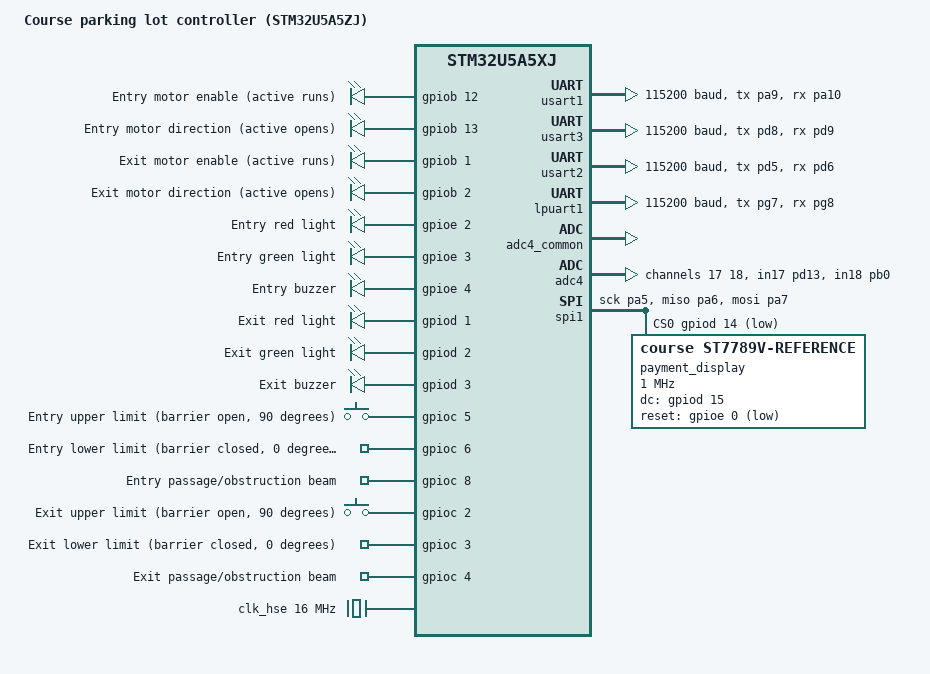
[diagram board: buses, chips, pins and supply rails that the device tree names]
/*
 * Course parking lot controller: an STM32U5A5ZJ with the clock tree of ST's
 * nucleo_u5a5zj_q, trimmed to the console and the lot's equipment. The lot
 * runs only in Renode (hardware/renode/parking.repl wires the models).
 *
 * Firmware reaches every device through an alias, never a pin number:
 *   GPIO_DT_SPEC_GET(DT_ALIAS(entry_motor_enable), gpios)
 *   ADC_CHANNEL_CFG_DT(DT_ALIAS(entry_distance))
 *   DEVICE_DT_GET(DT_ALIAS(entry_camera))
 *
 * Copyright (c) 2023-2024 STMicroelectronics (board base)
 * SPDX-License-Identifier: Apache-2.0
 */

/dts-v1/;
#include <st/u5/stm32u5a5Xj.dtsi>
#include <st/u5/stm32u5a5zjtxq-pinctrl.dtsi>
#include <zephyr/dt-bindings/adc/adc.h>

/ {
	model = "Course parking lot controller (STM32U5A5ZJ)";
	compatible = "ufal,parking-lot-u5";

	chosen {
		zephyr,console = &usart1;
		zephyr,shell-uart = &usart1;
		zephyr,sram = &sram0;
		zephyr,flash = &flash0;
	};

	aliases {
		/* Entry lane */
		entry-motor-enable = &entry_motor_enable;
		entry-motor-direction = &entry_motor_direction;
		entry-limit-upper = &entry_limit_upper;
		entry-limit-lower = &entry_limit_lower;
		entry-beam = &entry_beam;
		entry-light-red = &entry_light_red;
		entry-light-green = &entry_light_green;
		entry-buzzer = &entry_buzzer;
		entry-distance = &adc4_in17;
		entry-camera = &usart3;

		/* Exit lane */
		exit-motor-enable = &exit_motor_enable;
		exit-motor-direction = &exit_motor_direction;
		exit-limit-upper = &exit_limit_upper;
		exit-limit-lower = &exit_limit_lower;
		exit-beam = &exit_beam;
		exit-light-red = &exit_light_red;
		exit-light-green = &exit_light_green;
		exit-buzzer = &exit_buzzer;
		exit-distance = &adc4_in18;
		exit-camera = &usart2;

		/* Payment terminal and its display (exit lane) */
		payment-terminal = &lpuart1;
		payment-display = &payment_display;
	};

	/*
	 * Outputs, active high. "gpio-leds" is only a container for named GPIO
	 * outputs: keep CONFIG_LED off and drive them with gpio_pin_set_dt().
	 */
	motors {
		compatible = "gpio-leds";

		entry_motor_enable: entry_motor_enable {
			gpios = <&gpiob 12 GPIO_ACTIVE_HIGH>;
			label = "Entry motor enable (active runs)";
		};

		entry_motor_direction: entry_motor_direction {
			gpios = <&gpiob 13 GPIO_ACTIVE_HIGH>;
			label = "Entry motor direction (active opens)";
		};

		exit_motor_enable: exit_motor_enable {
			gpios = <&gpiob 1 GPIO_ACTIVE_HIGH>;
			label = "Exit motor enable (active runs)";
		};

		exit_motor_direction: exit_motor_direction {
			gpios = <&gpiob 2 GPIO_ACTIVE_HIGH>;
			label = "Exit motor direction (active opens)";
		};
	};

	signals {
		compatible = "gpio-leds";

		entry_light_red: entry_light_red {
			gpios = <&gpioe 2 GPIO_ACTIVE_HIGH>;
			label = "Entry red light";
		};

		entry_light_green: entry_light_green {
			gpios = <&gpioe 3 GPIO_ACTIVE_HIGH>;
			label = "Entry green light";
		};

		entry_buzzer: entry_buzzer {
			gpios = <&gpioe 4 GPIO_ACTIVE_HIGH>;
			label = "Entry buzzer";
		};

		exit_light_red: exit_light_red {
			gpios = <&gpiod 1 GPIO_ACTIVE_HIGH>;
			label = "Exit red light";
		};

		exit_light_green: exit_light_green {
			gpios = <&gpiod 2 GPIO_ACTIVE_HIGH>;
			label = "Exit green light";
		};

		exit_buzzer: exit_buzzer {
			gpios = <&gpiod 3 GPIO_ACTIVE_HIGH>;
			label = "Exit buzzer";
		};
	};

	/*
	 * Inputs, active high with pull-down, each on its own EXTI line.
	 * "gpio-keys" is only a container for named GPIO inputs: keep
	 * CONFIG_INPUT off, or its driver takes the pins and their interrupts.
	 */
	sensors {
		compatible = "gpio-keys";

		entry_limit_upper: entry_limit_upper {
			gpios = <&gpioc 5 (GPIO_ACTIVE_HIGH | GPIO_PULL_DOWN)>;
			label = "Entry upper limit (barrier open, 90 degrees)";
		};

		entry_limit_lower: entry_limit_lower {
			gpios = <&gpioc 6 (GPIO_ACTIVE_HIGH | GPIO_PULL_DOWN)>;
			label = "Entry lower limit (barrier closed, 0 degrees)";
		};

		entry_beam: entry_beam {
			gpios = <&gpioc 8 (GPIO_ACTIVE_HIGH | GPIO_PULL_DOWN)>;
			label = "Entry passage/obstruction beam";
		};

		exit_limit_upper: exit_limit_upper {
			gpios = <&gpioc 2 (GPIO_ACTIVE_HIGH | GPIO_PULL_DOWN)>;
			label = "Exit upper limit (barrier open, 90 degrees)";
		};

		exit_limit_lower: exit_limit_lower {
			gpios = <&gpioc 3 (GPIO_ACTIVE_HIGH | GPIO_PULL_DOWN)>;
			label = "Exit lower limit (barrier closed, 0 degrees)";
		};

		exit_beam: exit_beam {
			gpios = <&gpioc 4 (GPIO_ACTIVE_HIGH | GPIO_PULL_DOWN)>;
			label = "Exit passage/obstruction beam";
		};
	};
};

/* HSE 16 MHz, PLL1 to 160 MHz system and bus clocks (as on the Nucleo). */
&clk_hse {
	clock-frequency = <DT_FREQ_M(16)>;
	status = "okay";
};

&pll1 {
	div-m = <4>;
	mul-n = <80>;
	div-q = <2>;
	div-r = <2>;
	clocks = <&clk_hse>;
	status = "okay";
};

&rcc {
	clocks = <&pll1>;
	clock-frequency = <DT_FREQ_M(160)>;
	ahb-prescaler = <1>;
	apb1-prescaler = <1>;
	apb2-prescaler = <1>;
	apb3-prescaler = <1>;
};

/* Diagnostic console */
&usart1 {
	pinctrl-0 = <&usart1_tx_pa9 &usart1_rx_pa10>;
	pinctrl-names = "default";
	current-speed = <115200>;
	status = "okay";
};

/* Entry camera */
&usart3 {
	pinctrl-0 = <&usart3_tx_pd8 &usart3_rx_pd9>;
	pinctrl-names = "default";
	current-speed = <115200>;
	status = "okay";
};

/* Exit camera */
&usart2 {
	pinctrl-0 = <&usart2_tx_pd5 &usart2_rx_pd6>;
	pinctrl-names = "default";
	current-speed = <115200>;
	status = "okay";
};

/* Payment terminal */
&lpuart1 {
	pinctrl-0 = <&lpuart1_tx_pg7 &lpuart1_rx_pg8>;
	pinctrl-names = "default";
	current-speed = <115200>;
	status = "okay";
};

/* Distance sensors: ADC4 IN17 (entry, PD13) and IN18 (exit, PB0). */
&adc4_common {
	st,adc-prescaler = <4>;
	st,adc-clock-source = "ASYNC";
	status = "okay";
};

&adc4 {
	pinctrl-0 = <&adc4_in17_pd13 &adc4_in18_pb0>;
	pinctrl-names = "default";
	#address-cells = <1>;
	#size-cells = <0>;
	status = "okay";

	adc4_in17: channel@11 {
		reg = <17>;
		zephyr,gain = "ADC_GAIN_1";
		zephyr,reference = "ADC_REF_INTERNAL";
		zephyr,acquisition-time = <ADC_ACQ_TIME_DEFAULT>;
		zephyr,resolution = <12>;
	};

	adc4_in18: channel@12 {
		reg = <18>;
		zephyr,gain = "ADC_GAIN_1";
		zephyr,reference = "ADC_REF_INTERNAL";
		zephyr,acquisition-time = <ADC_ACQ_TIME_DEFAULT>;
		zephyr,resolution = <12>;
	};
};

/* Payment display: ST7789V on SPI1, CS PD14 (active low). */
&spi1 {
	pinctrl-0 = <&spi1_sck_pa5 &spi1_miso_pa6 &spi1_mosi_pa7>;
	pinctrl-names = "default";
	cs-gpios = <&gpiod 14 (GPIO_ACTIVE_LOW | GPIO_PULL_UP)>;
	status = "okay";

	payment_display: display@0 {
		compatible = "course,st7789v-reference";
		reg = <0>;
		spi-max-frequency = <1000000>;
		dc-gpios = <&gpiod 15 GPIO_ACTIVE_HIGH>;
		reset-gpios = <&gpioe 0 GPIO_ACTIVE_LOW>;
	};
};
